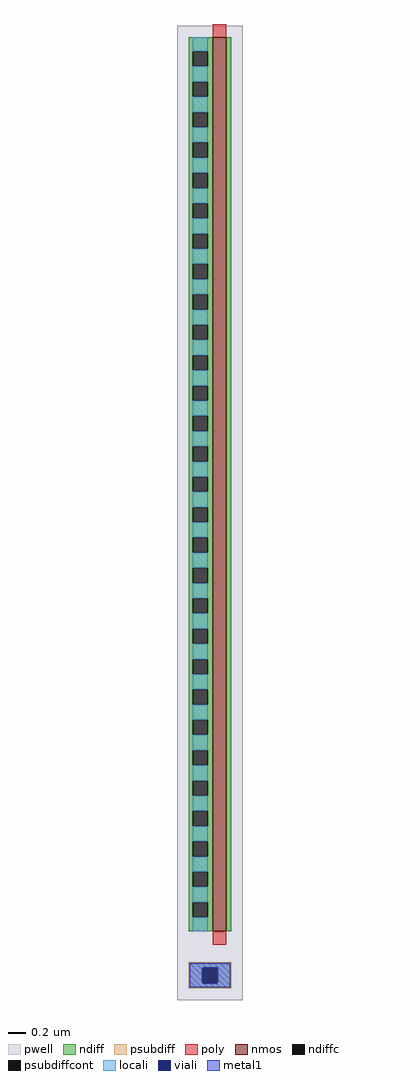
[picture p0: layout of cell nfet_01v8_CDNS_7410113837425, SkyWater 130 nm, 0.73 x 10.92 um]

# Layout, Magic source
magic
tech sky130A
magscale 1 2
<< pwell >>
rect -79 -154 67 2026
<< nmos >>
rect 0 0 30 2000
<< ndiff >>
rect -53 1969 0 2000
rect -53 1935 -45 1969
rect -11 1935 0 1969
rect -53 1901 0 1935
rect -53 1867 -45 1901
rect -11 1867 0 1901
rect -53 1833 0 1867
rect -53 1799 -45 1833
rect -11 1799 0 1833
rect -53 1765 0 1799
rect -53 1731 -45 1765
rect -11 1731 0 1765
rect -53 1697 0 1731
rect -53 1663 -45 1697
rect -11 1663 0 1697
rect -53 1629 0 1663
rect -53 1595 -45 1629
rect -11 1595 0 1629
rect -53 1561 0 1595
rect -53 1527 -45 1561
rect -11 1527 0 1561
rect -53 1493 0 1527
rect -53 1459 -45 1493
rect -11 1459 0 1493
rect -53 1425 0 1459
rect -53 1391 -45 1425
rect -11 1391 0 1425
rect -53 1357 0 1391
rect -53 1323 -45 1357
rect -11 1323 0 1357
rect -53 1289 0 1323
rect -53 1255 -45 1289
rect -11 1255 0 1289
rect -53 1221 0 1255
rect -53 1187 -45 1221
rect -11 1187 0 1221
rect -53 1153 0 1187
rect -53 1119 -45 1153
rect -11 1119 0 1153
rect -53 1085 0 1119
rect -53 1051 -45 1085
rect -11 1051 0 1085
rect -53 1017 0 1051
rect -53 983 -45 1017
rect -11 983 0 1017
rect -53 949 0 983
rect -53 915 -45 949
rect -11 915 0 949
rect -53 881 0 915
rect -53 847 -45 881
rect -11 847 0 881
rect -53 813 0 847
rect -53 779 -45 813
rect -11 779 0 813
rect -53 745 0 779
rect -53 711 -45 745
rect -11 711 0 745
rect -53 677 0 711
rect -53 643 -45 677
rect -11 643 0 677
rect -53 609 0 643
rect -53 575 -45 609
rect -11 575 0 609
rect -53 541 0 575
rect -53 507 -45 541
rect -11 507 0 541
rect -53 473 0 507
rect -53 439 -45 473
rect -11 439 0 473
rect -53 405 0 439
rect -53 371 -45 405
rect -11 371 0 405
rect -53 337 0 371
rect -53 303 -45 337
rect -11 303 0 337
rect -53 269 0 303
rect -53 235 -45 269
rect -11 235 0 269
rect -53 201 0 235
rect -53 167 -45 201
rect -11 167 0 201
rect -53 133 0 167
rect -53 99 -45 133
rect -11 99 0 133
rect -53 65 0 99
rect -53 31 -45 65
rect -11 31 0 65
rect -53 0 0 31
rect 30 0 41 2000
<< ndiffc >>
rect -45 1935 -11 1969
rect -45 1867 -11 1901
rect -45 1799 -11 1833
rect -45 1731 -11 1765
rect -45 1663 -11 1697
rect -45 1595 -11 1629
rect -45 1527 -11 1561
rect -45 1459 -11 1493
rect -45 1391 -11 1425
rect -45 1323 -11 1357
rect -45 1255 -11 1289
rect -45 1187 -11 1221
rect -45 1119 -11 1153
rect -45 1051 -11 1085
rect -45 983 -11 1017
rect -45 915 -11 949
rect -45 847 -11 881
rect -45 779 -11 813
rect -45 711 -11 745
rect -45 643 -11 677
rect -45 575 -11 609
rect -45 507 -11 541
rect -45 439 -11 473
rect -45 371 -11 405
rect -45 303 -11 337
rect -45 235 -11 269
rect -45 167 -11 201
rect -45 99 -11 133
rect -45 31 -11 65
<< psubdiff >>
rect -53 -82 41 -70
rect -53 -116 -23 -82
rect 11 -116 41 -82
rect -53 -128 41 -116
<< psubdiffcont >>
rect -23 -116 11 -82
<< poly >>
rect 0 2000 30 2030
rect 0 -30 30 0
<< locali >>
rect -45 1969 -11 2000
rect -45 1901 -11 1935
rect -45 1833 -11 1867
rect -45 1765 -11 1799
rect -45 1697 -11 1731
rect -45 1629 -11 1663
rect -45 1561 -11 1595
rect -45 1493 -11 1527
rect -45 1425 -11 1459
rect -45 1357 -11 1391
rect -45 1289 -11 1323
rect -45 1221 -11 1255
rect -45 1153 -11 1187
rect -45 1085 -11 1119
rect -45 1017 -11 1051
rect -45 949 -11 983
rect -45 881 -11 915
rect -45 813 -11 847
rect -45 745 -11 779
rect -45 677 -11 711
rect -45 609 -11 643
rect -45 541 -11 575
rect -45 473 -11 507
rect -45 405 -11 439
rect -45 337 -11 371
rect -45 269 -11 303
rect -45 201 -11 235
rect -45 133 -11 167
rect -45 65 -11 99
rect -45 0 -11 31
rect -51 -82 39 -72
rect -51 -116 -23 -82
rect 11 -116 39 -82
rect -51 -126 39 -116
<< viali >>
rect -23 -116 11 -82
<< metal1 >>
rect -51 -82 39 -72
rect -51 -116 -23 -82
rect 11 -116 39 -82
rect -51 -126 39 -116
<< end >>
